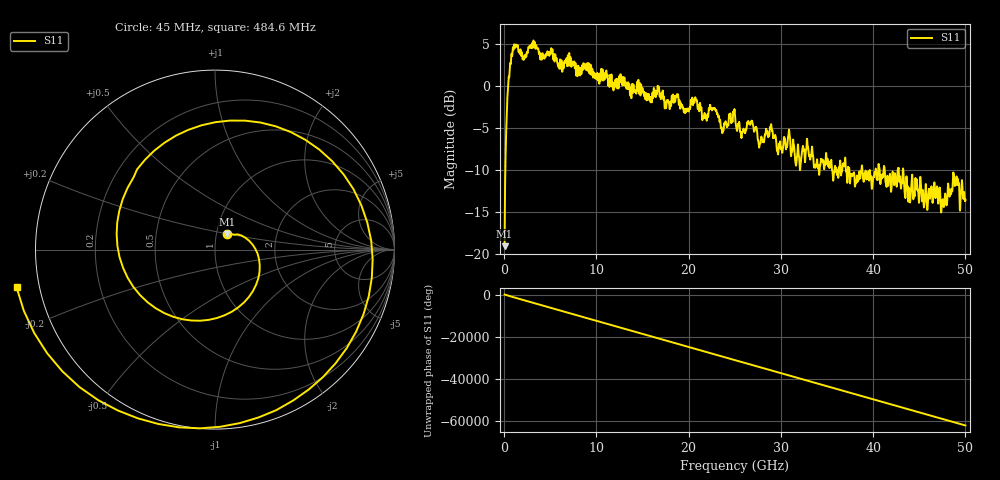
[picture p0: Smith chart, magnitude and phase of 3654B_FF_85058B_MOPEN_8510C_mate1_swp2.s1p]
!Created with skrf (http://scikit-rf.org).
# Hz S RI R 50.0
!freq ReS11 ImS11
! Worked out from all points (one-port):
!   10001 points, 45 MHz to 50 GHz, reference 50 ohm
!   lowest |S11| = -19.1 dB at 45 MHz (marker M1), VSWR 1.25, Z = 56.5 + j9.94 ohm
!   |S11| at or under -10 dB: 38.83 GHz to 40.26 GHz (1.431 GHz wide, 3.62 % of centre); 41.25 GHz to 42.66 GHz (1.407 GHz wide, 3.35 % of centre); 43.27 GHz to end of sweep (the widest 3 of 16)
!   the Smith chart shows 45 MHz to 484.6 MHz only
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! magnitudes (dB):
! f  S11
! 45 MHz  -19.1
! 434.6 MHz  0.1
! 1.024 GHz  4.4
! 2.193 GHz  3.6
! 3.242 GHz  4.6
! 6.289 GHz  1.7
! 12.53 GHz  0.4
! 18.78 GHz  -1.3
! 19.69 GHz  -2.8
! 20.72 GHz  -1.4
! 21.71 GHz  -3.3
! 22.8 GHz  -2.8
! 23.69 GHz  -5.4
! 25.02 GHz  -3.5
! 25.81 GHz  -5.5
! 26.77 GHz  -4.3
! 27.72 GHz  -6.9
! 28.9 GHz  -4.8
! 29.76 GHz  -7.1
! 31.27 GHz  -7.3
! 37.51 GHz  -11.4
! 42.58 GHz  -11.9
! 43.76 GHz  -12.2
! 45.7 GHz  -11.8
! 46.76 GHz  -13.3
! 47.54 GHz  -13.6
! 48.87 GHz  -11.8
! 50 GHz  -13.6
